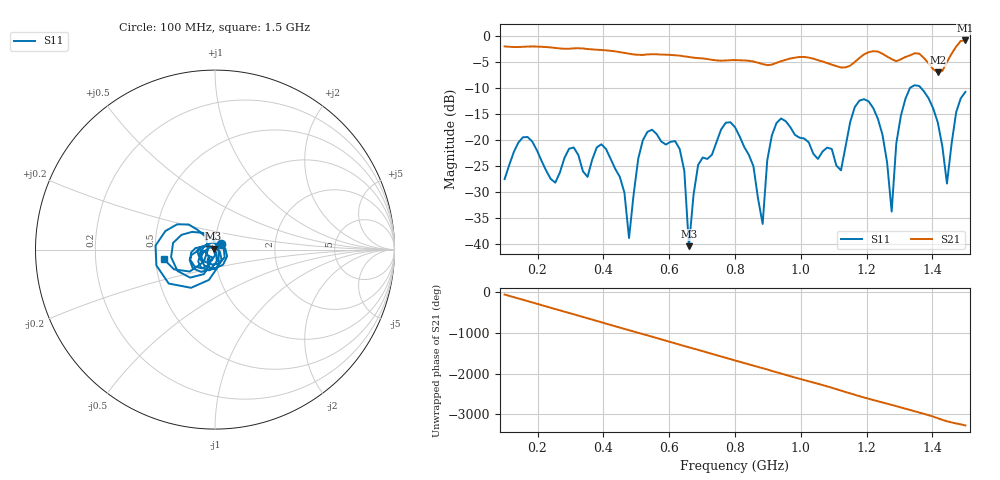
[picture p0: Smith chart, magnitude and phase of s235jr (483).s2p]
! NanoVNA-App
! Date: 2025-09-25 15:07:55
! Start: 100MHz Stop: 1,5GHz Points: 101
! S-Parameter data: F S11 S21 S12 S22
# Hz S RI R 50
!  Frequency  S11_Real  S11_Imag  S21_Real  S21_Imag  S12_Real  S12_Imag  S22_Real  S22_Imag
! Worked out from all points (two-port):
!   101 points, 100 MHz to 1.5 GHz, reference 50 ohm
!   highest |S21| = -0.82 dB at 1.5 GHz (marker M1); lowest = -7.0 dB at 1.416 GHz (marker M2)
!   |S21| within 3 dB of the highest: start of sweep to 640.6 MHz; 1.185 GHz to 1.26 GHz (74.44 MHz wide, 6.09 % of centre) (the widest 2 of 4)
!   lowest |S11| = -40.3 dB at 660 MHz (marker M3), VSWR 1.02, Z = 49.2 + j0.531 ohm
!   |S11| at or under -10 dB: start of sweep to 1.331 GHz; 1.366 GHz to end of sweep
!   S12 and S22 are empty: the file has one direction only
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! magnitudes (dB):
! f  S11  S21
! 100 MHz  -27.5  -2.0
! 156 MHz  -19.4  -2.0
! 338 MHz  -26.0  -2.4
! 408 MHz  -21.7  -2.7
! 478 MHz  -38.8  -3.4
! 520 MHz  -20.0  -3.6
! 576 MHz  -20.2  -3.5
! 632 MHz  -21.7  -3.7
! 660 MHz  -40.3  -4.0
! 688 MHz  -24.7  -4.2
! 800 MHz  -17.5  -4.6
! 884 MHz  -36.1  -5.4
! 926 MHz  -16.7  -5.1
! 1.038 GHz  -22.6  -4.3
! 1.122 GHz  -25.8  -6.0
! 1.206 GHz  -12.5  -3.1
! 1.276 GHz  -33.7  -4.4
! 1.29 GHz  -20.6  -4.8
! 1.332 GHz  -9.9  -3.7
! 1.416 GHz  -16.5  -7.0
! 1.444 GHz  -28.3  -5.0
! 1.5 GHz  -10.7  -0.8
